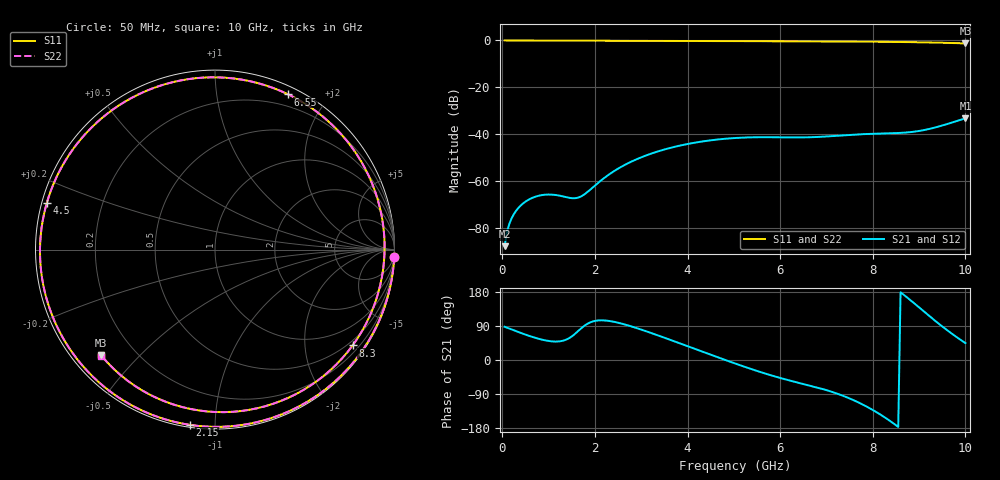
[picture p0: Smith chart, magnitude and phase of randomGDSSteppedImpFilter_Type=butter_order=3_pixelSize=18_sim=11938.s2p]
! freq	dB(S11)	phase(S11)	dB(S12)	phase(S12)
!  dB(S21)	phase(S21)	dB(S22)	phase(S22)
!S-par simulation data
#  GHz  S  DB  R 50
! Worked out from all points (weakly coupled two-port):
!   200 points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, 50 MHz to 10 GHz, reference 50 ohm
!   highest |S21| = -33.29 dB at 10 GHz (marker M1); lowest = -87.9 dB at 50 MHz (marker M2)
!   lowest |S11| = -1.3 dB at 10 GHz (marker M3), VSWR 13.89, Z = 4.15 - j19.5 ohm
!   |S11| at or under -10 dB: nowhere
!   |S22| runs from -1.2 to 0.0 dB; largest |S21 - S12| = 0
!   S11 on the Smith chart (normalised r, x): 50 MHz: 0, -47; 2.15 GHz: 0.01, -0.87; 4.5 GHz: 0.01, +0.14; 6.55 GHz: 0.08, +1.58; 8.3 GHz: 0.37, -3.15; 10 GHz: 0.08, -0.39
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0.05  -0.00 -2.4  -87.94 87.7  -87.94 87.7  -0.00 -2.4
0.35  -0.02 -16.8  -71.54 73.7  -71.54 73.7  -0.02 -16.8
0.65  -0.04 -31.0  -67.28 60.8  -67.28 60.8  -0.04 -31.0
1.2  -0.07 -56.4  -66.21 48.8  -66.21 48.8  -0.07 -56.5
1.75  -0.10 -81.0  -66.10 88.2  -66.10 88.2  -0.10 -81.0
2.15  -0.12 -98.2  -59.58 104.7  -59.58 104.7  -0.12 -98.2
2.75  -0.15 -123.3  -52.15 90.0  -52.15 90.0  -0.15 -123.3
3.4  -0.18 -149.8  -47.19 63.2  -47.19 63.2  -0.18 -149.9
3.95  -0.21 -172.4  -44.47 38.8  -44.47 38.8  -0.21 -172.4
4.5  -0.24 164.4  -42.68 14.0  -42.68 14.0  -0.24 164.4
5.05  -0.28 140.1  -41.68 -10.2  -41.68 -10.2  -0.28 140.0
5.85  -0.34 101.6  -41.37 -42.2  -41.37 -42.2  -0.34 101.6
6.55  -0.39 64.7  -41.42 -64.8  -41.42 -64.8  -0.39 64.6
6.7  -0.40 56.5  -41.34 -69.4  -41.34 -69.4  -0.40 56.4
7.5  -0.47 11.1  -40.37 -101.5  -40.37 -101.5  -0.47 11.0
7.9  -0.52 -11.9  -39.97 -125.1  -39.97 -125.1  -0.52 -12.0
8.3  -0.59 -34.9  -39.74 -154.8  -39.74 -154.8  -0.59 -34.9
8.35  -0.60 -37.7  -39.71 -158.9  -39.71 -158.9  -0.60 -37.8
8.8  -0.71 -63.5  -39.21 159.2  -39.21 159.2  -0.71 -63.6
9.2  -0.85 -86.8  -37.92 118.2  -37.92 118.2  -0.85 -86.8
9.6  -1.03 -111.1  -35.77 79.2  -35.77 79.2  -1.02 -111.0
10  -1.25 -137.2  -33.29 44.6  -33.29 44.6  -1.25 -137.0
